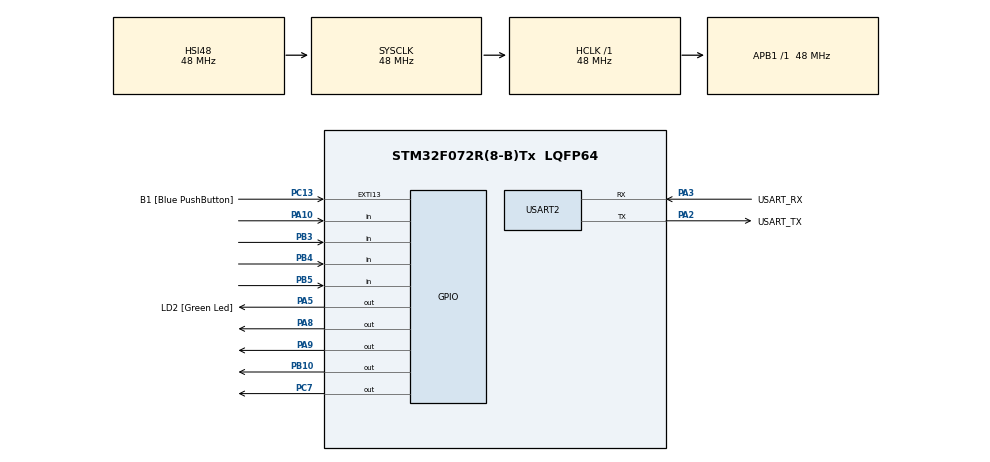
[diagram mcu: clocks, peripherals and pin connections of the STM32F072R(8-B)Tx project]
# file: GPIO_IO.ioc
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Mcu.Family=STM32F0
Mcu.Name=STM32F072R(8-B)Tx
Mcu.Package=LQFP64
PA10.GPIO_PuPd=GPIO_PULLUP
PA10.Signal=GPIO_Input
PA13.GPIO_Label=TMS
PA13.Mode=Serial_Wire
PA13.Signal=SYS_SWDIO
PA14.GPIO_Label=TCK
PA14.Mode=Serial_Wire
PA14.Signal=SYS_SWCLK
PA2.GPIO_Label=USART_TX
PA2.GPIO_Mode=GPIO_MODE_AF_PP
PA2.GPIO_PuPd=GPIO_NOPULL
PA2.GPIO_Speed=GPIO_SPEED_FREQ_LOW
PA2.Mode=Asynchronous
PA2.Signal=USART2_TX
PA3.GPIO_Label=USART_RX
PA3.GPIO_Mode=GPIO_MODE_AF_PP
PA3.GPIO_PuPd=GPIO_NOPULL
PA3.GPIO_Speed=GPIO_SPEED_FREQ_LOW
PA3.Mode=Asynchronous
PA3.Signal=USART2_RX
PA5.GPIO_Label=LD2 [Green Led]
PA5.GPIO_Mode=GPIO_MODE_OUTPUT_PP
PA5.GPIO_PuPd=GPIO_NOPULL
PA5.GPIO_Speed=GPIO_SPEED_FREQ_LOW
PA5.Signal=GPIO_Output
PA8.PinState=GPIO_PIN_SET
PA8.Signal=GPIO_Output
PA9.PinState=GPIO_PIN_SET
PA9.Signal=GPIO_Output
PB10.PinState=GPIO_PIN_SET
PB10.Signal=GPIO_Output
PB3.GPIO_PuPd=GPIO_PULLUP
PB3.Signal=GPIO_Input
PB4.GPIO_PuPd=GPIO_PULLUP
PB4.Signal=GPIO_Input
PB5.GPIO_PuPd=GPIO_PULLUP
PB5.Signal=GPIO_Input
PC13.GPIO_Label=B1 [Blue PushButton]
PC13.GPIO_ModeDefaultEXTI=GPIO_MODE_IT_FALLING
PC13.Signal=GPXTI13
PC14-OSC32_IN.Mode=LSE-External-Oscillator
PC14-OSC32_IN.Signal=RCC_OSC32_IN
PC15-OSC32_OUT.Mode=LSE-External-Oscillator
PC15-OSC32_OUT.Signal=RCC_OSC32_OUT
PC7.PinState=GPIO_PIN_SET
PC7.Signal=GPIO_Output
PF0-OSC_IN.Mode=HSE-External-Clock-Source
PF0-OSC_IN.Signal=RCC_OSC_IN
PF1-OSC_OUT.Signal=RCC_OSC_OUT
ProjectManager.HeapSize=0x200
ProjectManager.StackSize=0x400
ProjectManager.TargetToolchain=STM32CubeIDE
RCC.AHBFreq_Value=48000000
RCC.APB1Freq_Value=48000000
RCC.APB1TimFreq_Value=48000000
RCC.FLatency-AdvancedSettings=FLASH_LATENCY_1
RCC.HCLKFreq_Value=48000000
RCC.PLLDivider=RCC_PREDIV_DIV2
RCC.PLLMUL=RCC_PLL_MUL12
RCC.PREFETCH_ENABLE-AdvancedSettings=1
RCC.SYSCLKFreq_VALUE=48000000
RCC.SYSCLKSource=RCC_SYSCLKSOURCE_HSI48
USART2.VirtualMode=VM_ASYNC
USART2.VirtualMode-Asynchronous=VM_ASYNC
board=NUCLEO-F072RB

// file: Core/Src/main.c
/* USER CODE BEGIN Header */
/**
  ******************************************************************************
  * @file           : main.c
  * @brief          : Main program body
  ******************************************************************************
  * @attention
  *
  * Copyright (c) 2024 STMicroelectronics.
  * All rights reserved.
  *
  * This software is licensed under terms that can be found in the LICENSE file
  * in the root directory of this software component.
  * If no LICENSE file comes with this software, it is provided AS-IS.
  *
  ******************************************************************************
  */
/* USER CODE END Header */
#include "main.h"

UART_HandleTypeDef huart2;

void SystemClock_Config(void);
static void MX_GPIO_Init(void);
static void MX_USART2_UART_Init(void);

int main(void)
{

  /* MCU Configuration--------------------------------------------------------*/

  /* Reset of all peripherals, Initializes the Flash interface and the Systick. */
  HAL_Init();

  /* Configure the system clock */
  SystemClock_Config();

  /* Initialize all configured peripherals */
  MX_GPIO_Init();
  MX_USART2_UART_Init();

  /* Infinite loop */
  while (1)
  {

    /* USER CODE BEGIN 3 */
		if (HAL_GPIO_ReadPin(GPIOA, GPIO_PIN_10) == GPIO_PIN_RESET) {   /* SW1 */   /* LED1 on */

			HAL_GPIO_WritePin(GPIOB, GPIO_PIN_10, GPIO_PIN_RESET);
			HAL_GPIO_WritePin(GPIOA, GPIO_PIN_8, GPIO_PIN_SET);
			HAL_GPIO_WritePin(GPIOA, GPIO_PIN_9, GPIO_PIN_SET);
			HAL_GPIO_WritePin(GPIOC, GPIO_PIN_7, GPIO_PIN_SET);

		}
		if (HAL_GPIO_ReadPin(GPIOB, GPIO_PIN_3) == GPIO_PIN_RESET) {   /* SW2 */   /* LED2 on */

			HAL_GPIO_WritePin(GPIOB, GPIO_PIN_10, GPIO_PIN_SET);
			HAL_GPIO_WritePin(GPIOA, GPIO_PIN_8, GPIO_PIN_RESET);
			HAL_GPIO_WritePin(GPIOA, GPIO_PIN_9, GPIO_PIN_SET);
			HAL_GPIO_WritePin(GPIOC, GPIO_PIN_7, GPIO_PIN_SET);
		}
		if (HAL_GPIO_ReadPin(GPIOB, GPIO_PIN_5) == GPIO_PIN_RESET) {   /* SW3 */   /* LED3 on */

			HAL_GPIO_WritePin(GPIOB, GPIO_PIN_10, GPIO_PIN_SET);
			HAL_GPIO_WritePin(GPIOA, GPIO_PIN_8, GPIO_PIN_SET);
			HAL_GPIO_WritePin(GPIOA, GPIO_PIN_9, GPIO_PIN_RESET);
			HAL_GPIO_WritePin(GPIOC, GPIO_PIN_7, GPIO_PIN_SET);

		}
		if (HAL_GPIO_ReadPin(GPIOB, GPIO_PIN_4) == GPIO_PIN_RESET) {   /* SW4 */   /* LED4 on */

			HAL_GPIO_WritePin(GPIOB, GPIO_PIN_10, GPIO_PIN_SET);
			HAL_GPIO_WritePin(GPIOA, GPIO_PIN_8, GPIO_PIN_SET);
			HAL_GPIO_WritePin(GPIOA, GPIO_PIN_9, GPIO_PIN_SET);
			HAL_GPIO_WritePin(GPIOC, GPIO_PIN_7, GPIO_PIN_RESET);
		}
  }
  /* USER CODE END 3 */
}

void SystemClock_Config(void)
{
  RCC_OscInitTypeDef RCC_OscInitStruct = {0};
  RCC_ClkInitTypeDef RCC_ClkInitStruct = {0};
  RCC_PeriphCLKInitTypeDef PeriphClkInit = {0};

  /** Initializes the RCC Oscillators according to the specified parameters
  * in the RCC_OscInitTypeDef structure.
  */
  RCC_OscInitStruct.OscillatorType = RCC_OSCILLATORTYPE_HSI48;
  RCC_OscInitStruct.HSI48State = RCC_HSI48_ON;
  RCC_OscInitStruct.PLL.PLLState = RCC_PLL_NONE;
  if (HAL_RCC_OscConfig(&RCC_OscInitStruct) != HAL_OK)
  {
    Error_Handler();
  }
  /** Initializes the CPU, AHB and APB buses clocks
  */
  RCC_ClkInitStruct.ClockType = RCC_CLOCKTYPE_HCLK|RCC_CLOCKTYPE_SYSCLK
                              |RCC_CLOCKTYPE_PCLK1;
  RCC_ClkInitStruct.SYSCLKSource = RCC_SYSCLKSOURCE_HSI48;
  RCC_ClkInitStruct.AHBCLKDivider = RCC_SYSCLK_DIV1;
  RCC_ClkInitStruct.APB1CLKDivider = RCC_HCLK_DIV1;

  if (HAL_RCC_ClockConfig(&RCC_ClkInitStruct, FLASH_LATENCY_1) != HAL_OK)
  {
    Error_Handler();
  }
  PeriphClkInit.PeriphClockSelection = RCC_PERIPHCLK_USART2;
  PeriphClkInit.Usart2ClockSelection = RCC_USART2CLKSOURCE_PCLK1;
  if (HAL_RCCEx_PeriphCLKConfig(&PeriphClkInit) != HAL_OK)
  {
    Error_Handler();
  }
}

static void MX_USART2_UART_Init(void)
{

  huart2.Instance = USART2;
  huart2.Init.BaudRate = 38400;
  huart2.Init.WordLength = UART_WORDLENGTH_8B;
  huart2.Init.StopBits = UART_STOPBITS_1;
  huart2.Init.Parity = UART_PARITY_NONE;
  huart2.Init.Mode = UART_MODE_TX_RX;
  huart2.Init.HwFlowCtl = UART_HWCONTROL_NONE;
  huart2.Init.OverSampling = UART_OVERSAMPLING_16;
  huart2.Init.OneBitSampling = UART_ONE_BIT_SAMPLE_DISABLE;
  huart2.AdvancedInit.AdvFeatureInit = UART_ADVFEATURE_NO_INIT;
  if (HAL_UART_Init(&huart2) != HAL_OK)
  {
    Error_Handler();
  }

}

static void MX_GPIO_Init(void)
{
  GPIO_InitTypeDef GPIO_InitStruct = {0};

  /* GPIO Ports Clock Enable */
  __HAL_RCC_GPIOC_CLK_ENABLE();
  __HAL_RCC_GPIOF_CLK_ENABLE();
  __HAL_RCC_GPIOA_CLK_ENABLE();
  __HAL_RCC_GPIOB_CLK_ENABLE();

  /*Configure GPIO pin Output Level */
  HAL_GPIO_WritePin(LD2_GPIO_Port, LD2_Pin, GPIO_PIN_RESET);

  /*Configure GPIO pin Output Level */
  HAL_GPIO_WritePin(GPIOB, GPIO_PIN_10, GPIO_PIN_SET);

  /*Configure GPIO pin Output Level */
  HAL_GPIO_WritePin(GPIOC, GPIO_PIN_7, GPIO_PIN_SET);

  /*Configure GPIO pin Output Level */
  HAL_GPIO_WritePin(GPIOA, GPIO_PIN_8|GPIO_PIN_9, GPIO_PIN_SET);

  /*Configure GPIO pin : B1_Pin */
  GPIO_InitStruct.Pin = B1_Pin;
  GPIO_InitStruct.Mode = GPIO_MODE_IT_FALLING;
  GPIO_InitStruct.Pull = GPIO_NOPULL;
  HAL_GPIO_Init(B1_GPIO_Port, &GPIO_InitStruct);

  /*Configure GPIO pins : LD2_Pin PA8 PA9 */
  GPIO_InitStruct.Pin = LD2_Pin|GPIO_PIN_8|GPIO_PIN_9;
  GPIO_InitStruct.Mode = GPIO_MODE_OUTPUT_PP;
  GPIO_InitStruct.Pull = GPIO_NOPULL;
  GPIO_InitStruct.Speed = GPIO_SPEED_FREQ_LOW;
  HAL_GPIO_Init(GPIOA, &GPIO_InitStruct);

  /*Configure GPIO pin : PB10 */
  GPIO_InitStruct.Pin = GPIO_PIN_10;
  GPIO_InitStruct.Mode = GPIO_MODE_OUTPUT_PP;
  GPIO_InitStruct.Pull = GPIO_NOPULL;
  GPIO_InitStruct.Speed = GPIO_SPEED_FREQ_LOW;
  HAL_GPIO_Init(GPIOB, &GPIO_InitStruct);

  /*Configure GPIO pin : PC7 */
  GPIO_InitStruct.Pin = GPIO_PIN_7;
  GPIO_InitStruct.Mode = GPIO_MODE_OUTPUT_PP;
  GPIO_InitStruct.Pull = GPIO_NOPULL;
  GPIO_InitStruct.Speed = GPIO_SPEED_FREQ_LOW;
  HAL_GPIO_Init(GPIOC, &GPIO_InitStruct);

  /*Configure GPIO pin : PA10 */
  GPIO_InitStruct.Pin = GPIO_PIN_10;
  GPIO_InitStruct.Mode = GPIO_MODE_INPUT;
  GPIO_InitStruct.Pull = GPIO_PULLUP;
  HAL_GPIO_Init(GPIOA, &GPIO_InitStruct);

  /*Configure GPIO pins : PB3 PB4 PB5 */
  GPIO_InitStruct.Pin = GPIO_PIN_3|GPIO_PIN_4|GPIO_PIN_5;
  GPIO_InitStruct.Mode = GPIO_MODE_INPUT;
  GPIO_InitStruct.Pull = GPIO_PULLUP;
  HAL_GPIO_Init(GPIOB, &GPIO_InitStruct);

}

void Error_Handler(void)
{
  __disable_irq();
  while (1)
  {
  }
}
